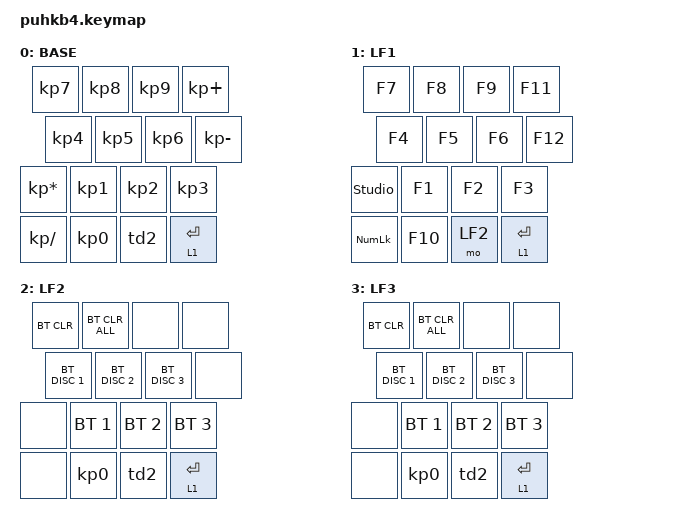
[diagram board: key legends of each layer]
/*
 * Copyright (c) 2020 The ZMK Contributors
 *
 * SPDX-License-Identifier: MIT
 */

#include <behaviors.dtsi>
#include <dt-bindings/zmk/keys.h>
#include <dt-bindings/zmk/bt.h>
#include <dt-bindings/zmk/outputs.h>

#define BASE 0
#define LF1 1
#define LF2 2
#define LF3 3
#define LF4 4
#define RF1 5
#define RF2 6
#define RF3 7
#define RF4 8
#define GAM 9
#define GAM2 10

/ {

	conditional_layers {
		compatible = "zmk,conditional-layers";
		lf3_layer {
			if-layers = <LF1 LF2>;
			then-layer = <LF3>;
		};
		rf3_layer {
			if-layers = <RF1 RF2>;
			then-layer = <RF3>;
        };
    };
    
	behaviors {
		td0: tap_dance_0 {
            		compatible = "zmk,behavior-tap-dance";
            		#binding-cells = <0>;
			tapping-term-ms = <500>;
            		bindings = <&kp KP_PLUS>, <&kp KP_MULTIPLY>;
        	};
        td1: tap_dance_1 {
            		compatible = "zmk,behavior-tap-dance";
            		#binding-cells = <0>;
            		tapping-term-ms = <500>;
            		bindings = <&kp KP_MINUS>, <&kp KP_DIVIDE>;
        	};
		td2: tap_dance_2 {
            		compatible = "zmk,behavior-tap-dance";
            		#binding-cells = <0>;
            		tapping-term-ms = <500>;
            		bindings = <&kp KP_DOT>, <&kp COMMA>;
        	};
        skq: sticky_key_quick_release {
        		compatible = "zmk,behavior-sticky-key";
        		#binding-cells = <1>;
        		bindings = <&kp>;
        		release-after-ms = <3000>;
        		quick-release;
        		ignore-modifiers;
      		};
    };
    
	keymap {
		compatible = "zmk,keymap";
        
		default_layer {
			display-name = "BASE";
// * BASE
// * |---------------------------|
// * |  N7  |  N8  |  N9  |  +   |
// * |---------------------------|
// * |  N4  |  N5  |  N6  |  -   |
// * |---------------------------|
// * |  *   |  N1  |  N2  |  N3  |
// * |---------------------------|
// * |  /   |  N0  |  .,  | RET/1|
// * |---------------------------|
// * |xxxxxx|xxxxxx|xxxxxx|xxxxxx|
// * |---------------------------|
// */
            bindings = <
&kp KP_N7       &kp KP_N8 &kp KP_N9 &kp KP_PLUS
&kp KP_N4       &kp KP_N5 &kp KP_N6 &kp KP_MINUS
&kp KP_MULTIPLY &kp KP_N1 &kp KP_N2 &kp KP_N3
&kp KP_DIVIDE   &kp KP_N0 &td2      &lt 1 RET   
            >;
        };

		lf1_layer {
			display-name = "LF1";
// * LF1
// * |---------------------------|
// * |  F7  |  F8  |  F9  |  F11 |
// * |---------------------------|
// * |  F4  |  F5  |  F6  |  F12 |
// * |---------------------------|
// * |StuUnl|  F1  |  F2  |  F3  |
// * |---------------------------|
// * |  NUM |  F10 | LF2  | RET/1|
// * |---------------------------|
// * |xxxxxx|xxxxxx|xxxxxx|xxxxxx|
// * |---------------------------|
// */
            bindings = <
&kp F7         &kp F8  &kp F9  &kp F11
&kp F4         &kp F5  &kp F6  &kp F12
&studio_unlock &kp F1  &kp F2  &kp F3
&kp KP_NUM     &kp F10 &mo LF2 &lt 1 RET
            >;
        };
        
		lf2_layer {
			display-name = "LF2";
// * LF2
// * |---------------------------|
// * |BT_CLR|BTCLRA|xxxxxx|xxxxxx|
// * |---------------------------|
// * |BTDIS1|BTDIS2|BTDIS3|xxxxxx|
// * |---------------------------|
// * |xxxxxx|BTSEC1|BTSEC2|BTSEC3|
// * |---------------------------|
// * |xxxxxx|  N0  |  .,  | RET/1|
// * |---------------------------|
// * |xxxxxx|xxxxxx|xxxxxx|xxxxxx|
// * |---------------------------|
// */
            bindings = <
&bt BT_CLR      &bt BT_CLR_ALL &none         &none
&bt BT_DISC 1   &bt BT_DISC 2  &bt BT_DISC 3 &none
&none           &bt BT_SEL 1   &bt BT_SEL 2  &bt BT_SEL 3
&none           &kp KP_N0      &td2          &lt 1 RET
            >;
        };
        
		lf3_layer {
			display-name = "LF3";
// * LF3
// * |---------------------------|
// * |BT_CLR|BTCLRA|xxxxxx|xxxxxx|
// * |---------------------------|
// * |BTDIS1|BTDIS2|BTDIS3|xxxxxx|
// * |---------------------------|
// * |xxxxxx|BTSEC1|BTSEC2|BTSEC3|
// * |---------------------------|
// * |xxxxxx|  N0  |  .,  | RET/1|
// * |---------------------------|
// * |xxxxxx|xxxxxx|xxxxxx|xxxxxx|
// * |---------------------------|
// */
            bindings = <
&bt BT_CLR      &bt BT_CLR_ALL &none         &none
&bt BT_DISC 1   &bt BT_DISC 2  &bt BT_DISC 3 &none
&none           &bt BT_SEL 1   &bt BT_SEL 2  &bt BT_SEL 3
&none           &kp KP_N0      &td2          &lt 1 RET
            >;
        };
        
        extra1 {
            status = "reserved";
        };

        extra2 {
            status = "reserved";
        };
    };
};
